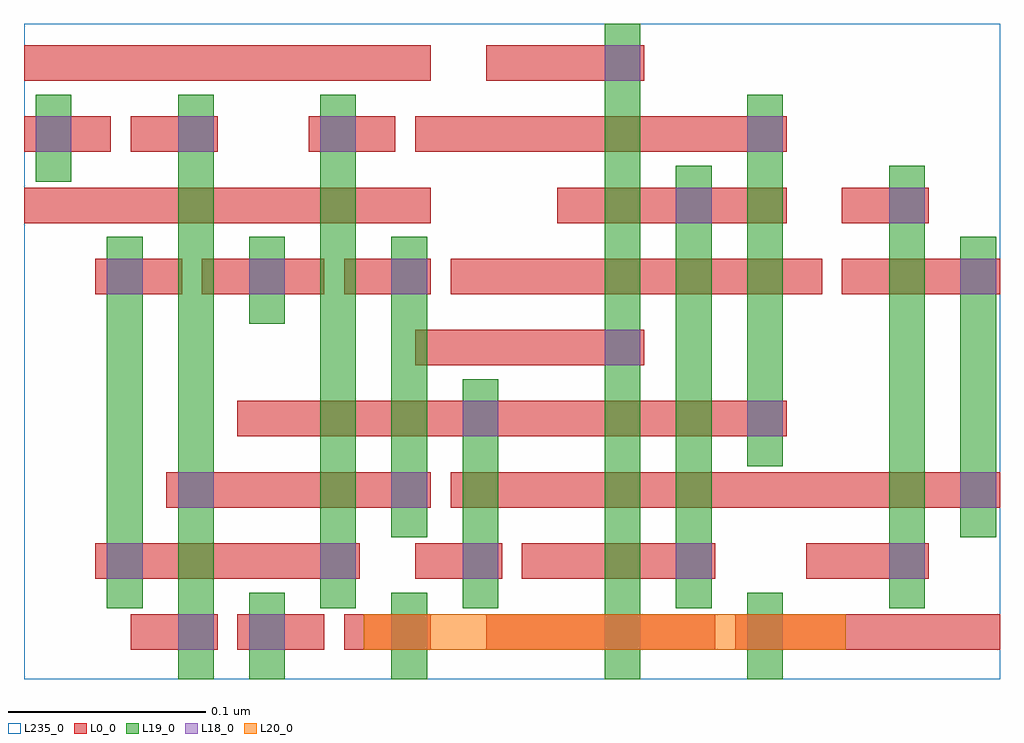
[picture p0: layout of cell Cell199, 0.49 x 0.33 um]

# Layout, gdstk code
import gdstk
lib = gdstk.Library(unit=1e-6, precision=2.5e-10)
def R(c, l, rs):  # rectangles x0, y0, x1, y1
    for r in rs: c.add(gdstk.rectangle(r[:2], r[2:], *l))
def A(c, l, x, y, w, h, nx, ny, dx, dy):  # array of equal rectangles
    R(c, l, [(x+i*dx, y+j*dy, x+i*dx+w, y+j*dy+h) for i in range(nx) for j in range(ny)])
L0_0 = (0, 0)
L18_0 = (18, 0)
L19_0 = (19, 0)
L20_0 = (20, 0)
L235_0 = (235, 0)

cell199 = lib.new_cell('Cell199')
A(cell199, L0_0, 0.058, -0.001, 0.044, 0.018, 3, 1, 0.054, 0)
R(cell199, L0_0, [(0.238,-0.001,0.354,0.017), (0.364,-0.001,0.498,0.017), (0.04,0.035,0.174,0.053), (0.202,0.035,0.246,0.053), (0.256,0.035,0.354,0.053), (0.4,0.035,0.462,0.053), (0.076,0.071,0.21,0.089), (0.22,0.071,0.498,0.089), (0.112,0.107,0.39,0.125), (0.202,0.143,0.318,0.161), (0.04,0.179,0.084,0.197), (0.094,0.179,0.156,0.197), (0.166,0.179,0.21,0.197), (0.22,0.179,0.408,0.197), (0.418,0.179,0.498,0.197), (0.004,0.215,0.21,0.233), (0.274,0.215,0.39,0.233), (0.418,0.215,0.462,0.233), (0.004,0.251,0.048,0.269), (0.058,0.251,0.102,0.269), (0.148,0.251,0.192,0.269), (0.202,0.251,0.39,0.269), (0.004,0.287,0.21,0.305), (0.238,0.287,0.318,0.305)])
A(cell199, L18_0, 0.298, -0.001, 0.018, 0.018, 1, 3, 0, 0.144)
A(cell199, L18_0, 0.226, 0.035, 0.018, 0.018, 3, 1, 0.108, 0)
A(cell199, L18_0, 0.046, 0.179, 0.018, 0.018, 3, 1, 0.072, 0)
A(cell199, L18_0, 0.01, 0.251, 0.018, 0.018, 3, 1, 0.072, 0)
R(cell199, L18_0, [(0.082,-0.001,0.1,0.017), (0.118,-0.001,0.136,0.017), (0.19,-0.001,0.208,0.017), (0.37,-0.001,0.388,0.017), (0.046,0.035,0.064,0.053), (0.154,0.035,0.172,0.053), (0.082,0.071,0.1,0.089), (0.19,0.071,0.208,0.089), (0.478,0.071,0.496,0.089), (0.226,0.107,0.244,0.125), (0.37,0.107,0.388,0.125), (0.478,0.179,0.496,0.197), (0.334,0.215,0.352,0.233), (0.442,0.215,0.46,0.233), (0.37,0.251,0.388,0.269)])
R(cell199, L19_0, [(0.082,-0.016,0.1,0.28), (0.118,-0.016,0.136,0.028), (0.19,-0.016,0.208,0.028), (0.298,-0.016,0.316,0.316), (0.37,-0.016,0.388,0.028), (0.046,0.02,0.064,0.208), (0.154,0.02,0.172,0.28), (0.226,0.02,0.244,0.136), (0.334,0.02,0.352,0.244), (0.442,0.02,0.46,0.244), (0.19,0.056,0.208,0.208), (0.478,0.056,0.496,0.208), (0.37,0.092,0.388,0.28), (0.118,0.164,0.136,0.208), (0.01,0.236,0.028,0.28)])
R(cell199, L20_0, [(0.176,-0.001,0.42,0.017)])
R(cell199, L235_0, [(0.004,-0.016,0.498,0.316)])

lib.write_gds('Cell199.gds')
